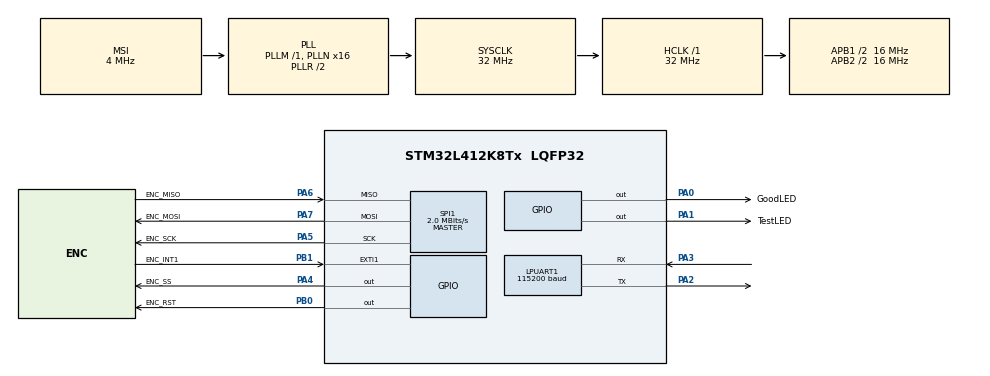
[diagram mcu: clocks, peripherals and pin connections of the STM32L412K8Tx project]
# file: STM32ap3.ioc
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LPUART1.BaudRate=115200
LPUART1.WordLength=UART_WORDLENGTH_8B
Mcu.Family=STM32L4
Mcu.Name=STM32L412K8Tx
Mcu.Package=LQFP32
NVIC.EXTI1_IRQn=true\:4\:0\:true\:false\:true\:true\:true
NVIC.LPUART1_IRQn=true\:13\:0\:true\:false\:true\:true\:true
NVIC.PriorityGroup=NVIC_PRIORITYGROUP_4
NVIC.TIM2_IRQn=true\:0\:0\:true\:false\:true\:true\:true
NVIC.TIM6_IRQn=true\:0\:0\:true\:false\:true\:true\:true
PA0-CK_IN.GPIO_Label=GoodLED
PA0-CK_IN.GPIO_Speed=GPIO_SPEED_FREQ_MEDIUM
PA0-CK_IN.Signal=GPIO_Output
PA1.GPIO_Label=TestLED
PA1.GPIO_Speed=GPIO_SPEED_FREQ_MEDIUM
PA1.Signal=GPIO_Output
PA13\ (JTMS/SWDIO).Mode=Serial_Wire
PA13\ (JTMS/SWDIO).Signal=SYS_JTMS-SWDIO
PA14\ (JTCK/SWCLK).Mode=Serial_Wire
PA14\ (JTCK/SWCLK).Signal=SYS_JTCK-SWCLK
PA2.Mode=Asynchronous
PA2.Signal=LPUART1_TX
PA3.Mode=Asynchronous
PA3.Signal=LPUART1_RX
PA4.GPIO_Label=ENC_SS
PA4.GPIO_Speed=GPIO_SPEED_FREQ_MEDIUM
PA4.Signal=GPIO_Output
PA5.GPIO_Label=ENC_SCK
PA5.Mode=Full_Duplex_Master
PA5.Signal=SPI1_SCK
PA6.GPIO_Label=ENC_MISO
PA6.Mode=Full_Duplex_Master
PA6.Signal=SPI1_MISO
PA7.GPIO_Label=ENC_MOSI
PA7.Mode=Full_Duplex_Master
PA7.Signal=SPI1_MOSI
PB0.GPIO_Label=ENC_RST
PB0.GPIO_PuPd=GPIO_PULLUP
PB0.GPIO_Speed=GPIO_SPEED_FREQ_MEDIUM
PB0.Signal=GPIO_Output
PB1.GPIO_Label=ENC_INT1
PB1.Signal=GPXTI1
ProjectManager.HeapSize=0x200
ProjectManager.StackSize=0x400
ProjectManager.TargetToolchain=Makefile
RCC.ADCFreq_Value=32000000
RCC.AHBFreq_Value=32000000
RCC.APB1CLKDivider=RCC_HCLK_DIV2
RCC.APB1Freq_Value=16000000
RCC.APB1TimFreq_Value=32000000
RCC.APB2CLKDivider=RCC_HCLK_DIV2
RCC.APB2Freq_Value=16000000
RCC.APB2TimFreq_Value=32000000
RCC.CortexFreq_Value=32000000
RCC.HCLKFreq_Value=32000000
RCC.HSE_VALUE=8000000
RCC.HSI48_VALUE=48000000
RCC.HSI_VALUE=16000000
RCC.LSE_VALUE=32768
RCC.MSI_VALUE=4000000
RCC.PLLN=16
RCC.SYSCLKFreq_VALUE=32000000
RCC.SYSCLKSource=RCC_SYSCLKSOURCE_PLLCLK
RCC.USBFreq_Value=4000000
RCC.VCOOutputFreq_Value=64000000
SPI1.BaudRatePrescaler=SPI_BAUDRATEPRESCALER_8
SPI1.CalculateBaudRate=2.0 MBits/s
SPI1.DataSize=SPI_DATASIZE_8BIT
SPI1.Direction=SPI_DIRECTION_2LINES
SPI1.Mode=SPI_MODE_MASTER
SPI1.NSSPMode=SPI_NSS_PULSE_DISABLE
SPI1.VirtualType=VM_MASTER
TIM2.ClockDivision=TIM_CLOCKDIVISION_DIV4
TIM2.Period=1000-1
TIM2.Prescaler=8000-1
TIM6.Period=100-1
TIM6.Prescaler=320-1
VP_TIM2_VS_ClockSourceINT.Mode=Internal
VP_TIM6_VS_ClockSourceINT.Mode=Enable_Timer
board=custom

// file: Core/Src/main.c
/* USER CODE BEGIN Header */
/**
  ******************************************************************************
  * @file           : main.c
  * @brief          : Main program body
  ******************************************************************************
  * @attention
  *
  * <h2><center>&copy; Copyright (c) 2021 STMicroelectronics.
  * All rights reserved.</center></h2>
  *
  * This software component is licensed by ST under BSD 3-Clause license,
  * the "License"; You may not use this file except in compliance with the
  * License. You may obtain a copy of the License at:
  *                        opensource.org/licenses/BSD-3-Clause
  *
  ******************************************************************************
  */
/* USER CODE END Header */
#include "main.h"

/* USER CODE BEGIN Includes */
#include "eth-main.h"
#include "eth-nic.h"
#include "eth-arp.h"
#include "eth-ip.h"
#include "eth-dhcp.h"
#include "eth-dns.h"
#include "eth-icmp.h"
#include "eth-tcp.h"
#include "eth-udp.h"
//#include "eth-http-client.h"
#include <stdlib.h>
#include "Addstr.h"
#include <string.h>
/* USER CODE END Includes */

UART_HandleTypeDef hlpuart1;

SPI_HandleTypeDef hspi1;

TIM_HandleTypeDef htim2;
TIM_HandleTypeDef htim6;

void SystemClock_Config(void);
static void MX_GPIO_Init(void);
static void MX_LPUART1_UART_Init(void);
static void MX_SPI1_Init(void);
static void MX_TIM2_Init(void);
static void MX_TIM6_Init(void);
/* USER CODE BEGIN PFP */
void EC_Init();
/* USER CODE END PFP */

/* USER CODE BEGIN 0 */

int mode = 0;
uint32_t iter_per_us = 0;
void up_udelay(uint32_t us)
{
    up_delayTick(us*iter_per_us);
}
void up_100ndelay(uint32_t us)
{
    up_delayTick(us*iter_per_us/10);
}
void up_delayTick(uint32_t tick)
{
    volatile uint32_t i;

    for (i=0; i<tick; i++) {
    }
}
static void calibrate(void)
{
    uint32_t time;
    volatile uint32_t i;

    iter_per_us = 1000000;

    time = HAL_GetTick();
    /* Wait for next tick */
    while (HAL_GetTick() == time) {
        /* wait */
    }
    for (i=0; i<iter_per_us; i++) {
    }
    iter_per_us /= ((HAL_GetTick()-time)*1000);
}

DWORD eth_dhcp_1sec_renewal_timer;
DWORD eth_dhcp_1sec_lease_timer;
WORD eth_dhcp_1ms_timer;
DWORD ethernet_10ms_clock_timer;
DWORD ethernet_10ms_clock_timer_working;
DWORD tcp_client_socket_timeout_timer;
BOOL isOnline = FALSE;

BYTE eth_dhcp_using_manual_settings;
BYTE *eth_dhcp_our_name_pointer;

int count10 = 0;

void HAL_TIM_PeriodElapsedCallback(TIM_HandleTypeDef *htim)
{
  if(htim->Instance == TIM6) //1kHz Timer
  {
		//printf("2(%d,%d)\n",eth_dhcp_1ms_timer,ethernet_10ms_clock_timer_working);
    //----- NIC DHCP TIMER -----
    if (eth_dhcp_1ms_timer)
      eth_dhcp_1ms_timer--;

    //-----------------------------
    //----- HERE EVERY 10 mSec -----
    //-----------------------------

    //----- ETHERNET GENERAL TIMER -----
    count10++;
    if(count10==10)
    {
		  //printf("6(%d)\n",ethernet_10ms_clock_timer_working);
      ethernet_10ms_clock_timer_working++;
      count10=0;
    }

  }
  if (htim->Instance == TIM2) // 1Hz Timer
  {
		//printf("2(%d,%d)\n",eth_dhcp_1sec_renewal_timer,eth_dhcp_1sec_lease_timer);
    //-------------------------------
    //----- HERE EVERY 1 Second -----
    //-------------------------------

    //----- NIC DHCP TIMERS -----
    if (eth_dhcp_1sec_renewal_timer)
      eth_dhcp_1sec_renewal_timer--;
    if (eth_dhcp_1sec_lease_timer)
      eth_dhcp_1sec_lease_timer--;
    if(tcp_client_socket_timeout_timer)
      tcp_client_socket_timeout_timer--;

    checkConnectivity(TRUE);

  }
}

int _write(int file, char* p, int len)
{
    HAL_UART_Transmit(&hlpuart1,(uint8_t*)p,len,1000);
    return len;
}
void yield()
{
  tcp_ip_process_stack();
  //HAL_Delay(1);
}
BYTE UDP_Open(IP_ADDR AddrToOpen,WORD port_local,WORD port_remote);
int UDP_Send(DEVICE_INFO *device_info);
int UDP_WaitReq(BYTE Socket,int timeout);
int UDP_SendData(BYTE Socket,uint8_t* data,int length);

BYTE TCP_Disconnect(BYTE Socket, int timeout);
BYTE TCP_Get_Data(BYTE Socket,uint8_t* data,int buflen);
BYTE TCP_Get_RemainingDataSize(BYTE Socket);
//ret 0:succeed 1:timeout 2:disconnected 3:retries expired
BYTE TCP_Get_Wait(BYTE Socket,int timeout);
BYTE TCP_SendByte(BYTE Socket, uint8_t* data, int len);
BYTE TCP_Connect(IP_ADDR ip,int port,int timeout);

BYTE AJUAttender_Page(char* page,Addstr_Str *request);
BYTE HTTPSendGET(IP_ADDR ip,int port,char* require,Addstr_Str *request);

IP_ADDR IPSet(uint8_t d1,uint8_t d2,uint8_t d3,uint8_t d4);
MAC_ADDR MACSet(uint8_t d1,uint8_t d2,uint8_t d3,uint8_t d4,uint8_t d5,uint8_t d6);

//if error, it returns 0.0.0.0
IP_ADDR DNS_Get(char* domain, int timeout);
void checkConnectivity(BOOL print);

BYTE SendARP(IP_ADDR ip);
//mode 0 : Waiting
//mode 10 : Request HTTP Client (Echo)
//mode 11 : waiting for HTTP Get Request
//mode 12 : Processing of HTTP Get Protocol
/* USER CODE END 0 */

int main(void)
{

  /* MCU Configuration--------------------------------------------------------*/

  /* Reset of all peripherals, Initializes the Flash interface and the Systick. */
  HAL_Init();

  /* Configure the system clock */
  SystemClock_Config();

  /* USER CODE BEGIN SysInit */
  calibrate();
  /* USER CODE END SysInit */

  /* Initialize all configured peripherals */
  MX_GPIO_Init();
  MX_LPUART1_UART_Init();
  MX_SPI1_Init();
  MX_TIM2_Init();
  MX_TIM6_Init();
  /* USER CODE BEGIN 2 */
  setvbuf(stdout,NULL,_IONBF,0);
  HAL_TIM_Base_Start_IT(&htim6);
  HAL_TIM_Base_Start_IT(&htim2);

  EC_Init();

  printf("start!!\n");

  printf("connecting line...\n");

  // uint32_t start = HAL_GetTick();
  // while((HAL_GetTick()-start < 1000) && !(nic_is_linked && nic_linked_and_ip_address_valid))
  //  tcp_ip_process_stack();

  // checkConnectivity(TRUE);

  // static BYTE our_tcp_client_socket = TCP_INVALID_SOCKET;
	// static WORD our_tcp_client_local_port;
	// static DEVICE_INFO remote_device_info;
	// static BYTE eth_http_client_10ms_clock_timer_last;
	// static DWORD http_client_content_length;
	// static DWORD http_client_content_received;
	// static BYTE header_started;
	// static BYTE header_ended;
	// static BYTE data_buffer[4];
	// static BYTE content_length_match_char;

  //TCP example test

  // enum {
  //   SM_OPEN_SOCKET = 0,
  //   SM_WAIT_FOR_CONNECTION,
  //   SM_TX_PACKET,
  //   SM_WAIT_FOR_RESPONSE,
  //   SM_REQUEST_DISCONNECT,
  //   SM_WAIT_FOR_DISCONNECT,
  //   SM_COMMS_COMPLETE,
  //   SM_COMMS_FAILED
  // };

  // static BYTE our_tcp_client_socket = TCP_INVALID_SOCKET;
  // static WORD our_tcp_client_local_port;
  // static BYTE our_tcp_client_state = SM_OPEN_SOCKET;
  // static DEVICE_INFO remote_device_info;

  /* USER CODE END 2 */

  /* Infinite loop */
  /* USER CODE BEGIN WHILE */
  while (1)
  {
    //HAL_Delay(1000);
    /*
    //MAC를 차단하는 것 같다.(Broadcast 많이 이용 시.)
    IP_ADDR iptoarp = IPSet(192,168,0,1);
    MAC_ADDR macfromArp = MACSet(0,0,0,0,0,0);
    printf("arp sending.. %d.%d.%d.%d\n",iptoarp.v[0],iptoarp.v[1],iptoarp.v[2],iptoarp.v[3]);
    if(arp_resolve_ip_address(&iptoarp))
    {
      uint32_t start = HAL_GetTick();
      while(HAL_GetTick()-start < 3000)
      {
        tcp_ip_process_stack();
        if(arp_is_resolve_complete(&iptoarp,&macfromArp))break;
      }
      printf("received : %02X:%02X:%02X:%02X:%02X:%02X\n"
        ,macfromArp.v[0],macfromArp.v[1],macfromArp.v[2],macfromArp.v[3],macfromArp.v[4],macfromArp.v[5]);
    }
    */

    //HAL_Delay(500);

    if(mode == 0)
    {
      //mode = 10;

      //mode = 88;//start tcp
      //mode = 89;//start udp
      //mode = 90;//start dns
      //mode = 91;//start httpGET
      //mode = 92;

      // IP_ADDR site_addr;
      // printf("DNS Testing\n");
      // site_addr = DNS_Get("eduwon.net",4000);
      // printf("eduwon.net -> %d.%d.%d.%d\n",site_addr.v[0],site_addr.v[1],site_addr.v[2],site_addr.v[3]);
      // site_addr = DNS_Get("eduwon.nea",4000);
      // printf("eduwon.nea -> %d.%d.%d.%d\n\n",site_addr.v[0],site_addr.v[1],site_addr.v[2],site_addr.v[3]);
    }
    /*
    else if(mode == 88)
    {
      mode = 1;
      static BYTE our_tcp_socket = UDP_INVALID_SOCKET;
      IP_ADDR addr = IPSet(192,168,0,20);
      printf("\n\nTCP Start!!");
      our_tcp_socket = TCP_Connect(addr,505,10000);
      if (our_tcp_socket == UDP_INVALID_SOCKET)
      {
        printf("TCP Connection failed!\n");
        continue;
      }
      printf("TCP Connection succeed!\n");

      if (!TCP_SendByte(our_tcp_socket,"Hi!\n",4))
      {
        //Can't tx right now - try again next Time
        TCP_Disconnect(our_tcp_socket,1000);
        printf("TCP setup tx Socket failed!\n");
        continue;
      }
      printf("TCP Sending succeed!\n");

      int res;
      if(res = TCP_Get_Wait(our_tcp_socket,30000) == 0)//if data avaliable
      {
        int len = TCP_Get_RemainingDataSize(our_tcp_socket);
        uint8_t* data = malloc(len+1);
        data[len] = 0;
        TCP_Get_Data(our_tcp_socket,data,len);
        printf("TCP Receiving Succeed! len:%d, %s\n",len,data);
      }else{
        printf("TCP Error %d\n",res);
        TCP_Disconnect(our_tcp_socket,1000);

        continue;
      }
      printf("TCP Receiving succeed!\n");

      if(TCP_Disconnect(our_tcp_socket,5000))
      {
        printf("TCP Disconnecting Succeed!\n");
      }else{
        printf("TCP Disconnecting timeout.\n");
        continue;
      }

      printf("TCP Succeed!\n");
    }
    else if(mode == 89)
    {

      static BYTE our_udp_socket = UDP_INVALID_SOCKET;
      IP_ADDR addr;
      addr.v[0] = 192;
      addr.v[1] = 168;
      addr.v[2] = 0;
      addr.v[3] = 20;
      our_udp_socket = UDP_Open(addr,6450,6450);
      if (our_udp_socket == UDP_INVALID_SOCKET)
      {
        printf("UDP Invaild Socket!\n");
        continue;
      }

      if (!UDP_SendData(our_udp_socket,"Hi!",4))
      {
        //Can't tx right now - try again next Time
        printf("UDP setup tx Socket failed!\n");
        continue;
      }

      printf("UDP Request: %d\n",UDP_WaitReq(our_udp_socket,2000));

      printf("UDP Sending Succeed!\n");
      udp_close_socket(&our_udp_socket);
      continue;
    }
    else if(mode == 90)
    {
      IP_ADDR site_addr;
      char* siteDomain = "www.eduwon.sm";

      if(!do_dns_query(siteDomain,QNS_QUERY_TYPE_HOST))
      {
        extern BYTE dns_state;
        printf("dns failed. %d\n",dns_state);
        continue;
      }

      printf("DNS looking up start!\n");
      uint32_t start = HAL_GetTick();
      while(HAL_GetTick()-start < 4000)
      {
        yield();
        site_addr = check_dns_response();
        if(site_addr.Val == 0x00000000);//waiting
        else if(site_addr.Val == 0xFFFFFFFF)
        {
          printf("dns failed 1.\n");
          break;
        }
        else
        {
          printf("DNS Succeed!\n");
          printf("Resloved : %d.%d.%d.%d\n",site_addr.v[0],site_addr.v[1],site_addr.v[2],site_addr.v[3]);
          break;
        }
      }

      if(site_addr.Val == 0xFFFFFFFF)
      continue;

      // IP_ADDR iptoarp = site_addr;
      // MAC_ADDR macfromArp = MACSet(0,0,0,0,0,0);
      // printf("arp sending.. %d.%d.%d.%d\n",iptoarp.v[0],iptoarp.v[1],iptoarp.v[2],iptoarp.v[3]);
      // if(arp_resolve_ip_address(&iptoarp))
      // {
      //   uint32_t start = HAL_GetTick();
      //   while(HAL_GetTick()-start < 3000)
      //   {
      //     yield();
      //     if(arp_is_resolve_complete(&iptoarp,&macfromArp))break;
      //   }
      //   printf("received : %02X:%02X:%02X:%02X:%02X:%02X\n"
      //     ,macfromArp.v[0],macfromArp.v[1],macfromArp.v[2],macfromArp.v[3],macfromArp.v[4],macfromArp.v[5]);
      // }

    }
    else if(mode == 91)
    {
      mode = 1;
      //prepare for HTTP Get Sending
      char* host = "www.eduwon.net";
      int port = 8807;
      char* page = "/api/att/echo_4514";
      IP_ADDR host_addr;
      BYTE socket;

      int res;
      //TCP example test
      printf("TCP: SOCKET Open\n");
      host_addr = DNS_Get(host,2000);
      socket = TCP_Connect(host_addr,port,10000);
      if(socket == TCP_INVALID_SOCKET)
        continue;

      //----- TX PACKET TO REMOTE DEVICE -----
      if (!tcp_setup_socket_tx(socket))
      {
        printf("TCP: we can't send TX packet.\n");
        //Can't tx right now - try again next time
        continue;
      }
      //WRITE THE TCP DATA
      tcp_write_array("GET ",4);
      tcp_write_array(page,strlen(page));
      tcp_write_array(" HTTP/1.1\r\n",11);

      tcp_write_array("Host ",5);
      tcp_write_array(host,strlen(host));
      tcp_write_array("\r\n",2);

      tcp_write_array("Connection : close\r\n",20);
      tcp_write_array("\r\n",2);
      //You can also use tcp_write_array()

      //SEND THE PACKET
      tcp_socket_tx_packet(socket);

      res = TCP_Get_Wait(socket,10000);
      //----- WAIT FOR RESPONSE -----

      if (res==1)//tcp_client_socket_timeout_timer == 0)
      {
        printf("TCP: TX Timeout.\n");
        //WAIT FOR RESPOSNE TIMEOUT
        tcp_close_socket(socket);
        continue;
      }

      if (res==0)//tcp_check_socket_for_rx(socket))
      {
        printf("TCP: data :");
        //SOCKET HAS RECEIVED A PACKET - PROCESS IT

        BYTE data;
        printf("len:%d\n",TCP_Get_RemainingDataSize(socket));
        while(tcp_read_next_rx_byte(&data) == 1)
        {
          //yield();
          printf("%c",data);
        }
        printf("\nTCP: data ended!\n");
        // //READ THE PACKET AS REQURIED
        // if (tcp_read_next_rx_byte(&data) == 0)
        // {
        //   //Error - no more bytes in rx packet
        //   printf("\nTCP: data ended!\n");
        // }

        //DUMP THE PACKET
        tcp_dump_rx_packet();
        //go on.
      }

      if (res==3)//tcp_does_socket_require_resend_of_last_packet(socket))
      {
        printf("TCP: re-sending Packet.\n");
        //RE-SEND LAST PACKET TRANSMITTED
        //(TCP requires resending of packets if they are not acknowledged and to
        //avoid requiring a large RAM buffer the application needs to remember
        //the last packet sent on a socket so it can be resent if requried).
        continue;
      }

      if(res==2)//!tcp_is_socket_connected(socket))
      {
        printf("TCP: Host Disconnected.\n");
        //THE CLIENT HAS DISCONNECTED
        continue;
      }

      if(!TCP_Disconnect(socket,10000))
      {
        printf("TCP: DisConnect failed.");
        break;
      }
      printf("TCP: Communication Succeed!.\n");

    }
    else if(mode == 92)
    {
      mode = 1;
      Addstr_Str Request;

      int req = AJUAttender_Page("/api/att/echo_8754",&Request);
      if(!req)
      {
        printf("echo failed.\n");
        continue;
      }

      printf("Request len : %d\r\n",Request.size);
      printf("%s\r\n",Request.str);

      Addstr_destroy(&Request);

    }
    */

    /*else if(mode == 10)
    {
      printf("Connect to www.eduwon.net 123\n");

      char domain[26] = "www.eduwon.net";
      if(!do_dns_query(domain, QNS_QUERY_TYPE_HOST))
      {
        printf("DNS Failed.\n");
        mode = 1;
      }
      mode = 11;
      // if(start_http_client_request("www.eduwon.net","123"))
      // {
      //   mode == 11;
      // }else
      // {
      //   printf("Request Failed!\n");
      //   HAL_Delay(500);
      // }
    }else if(mode == 11)
    {
      remote_device_info.ip_address = check_dns_response();
      if (remote_device_info.ip_address.Val == 0xffffffff)
      {
        //DNS QUERY FAILED
        printf("Request Failed!\n");
        HAL_Delay(500);
        mode = 10;
      }
      else if (remote_device_info.ip_address.Val)
      {
        printf("DNS Succeed!\n");
        mode = 12;
        //DNS QUERY SUCESSFUL
      }
      else
      {
        //DNS NOT YET COMPLETE
      }
    }else if(mode == 12)
    {
      printf("Connect to %08X..\n",remote_device_info.ip_address.Val);
      remote_device_info.mac_address.v[0] = 0;		//Set to zero so TCP will automatically use ARP to find the MAC address
      remote_device_info.mac_address.v[1] = 0;
      remote_device_info.mac_address.v[2] = 0;
      remote_device_info.mac_address.v[3] = 0;
      remote_device_info.mac_address.v[4] = 0;
      remote_device_info.mac_address.v[5] = 0;

      //Connect to remote device port 80
      if (our_tcp_client_socket != TCP_INVALID_SOCKET)		//We shouldn't have a socket currently, but make sure
          tcp_close_socket(our_tcp_client_socket);

      our_tcp_client_socket = tcp_connect_socket(&remote_device_info, 80);
      if (our_tcp_client_socket != TCP_INVALID_SOCKET)
      {
        our_tcp_client_local_port = tcp_socket[our_tcp_client_socket].local_port;
        mode = 13;
      }
      //Could not open a socket - none currently available - keep trying
    }else if(mode == 13)
    {
      //TCP Waiting
      if (tcp_is_socket_connected(our_tcp_client_socket))
        mode = 14;

    }else if(mode == 14)
    {
      tcp_close_socket(our_tcp_client_socket);

      printf("Connect Succeed!\n");
      HAL_Delay(500);
    }
    */

    /* USER CODE END WHILE */

    /* USER CODE BEGIN 3 */
    //----- PROCESS ETHERNET STACK -----
    tcp_ip_process_stack();
  }
  /* USER CODE END 3 */
}

void SystemClock_Config(void)
{
  RCC_OscInitTypeDef RCC_OscInitStruct = {0};
  RCC_ClkInitTypeDef RCC_ClkInitStruct = {0};
  RCC_PeriphCLKInitTypeDef PeriphClkInit = {0};

  /** Configure the main internal regulator output voltage
  */
  if (HAL_PWREx_ControlVoltageScaling(PWR_REGULATOR_VOLTAGE_SCALE1) != HAL_OK)
  {
    Error_Handler();
  }
  /** Initializes the RCC Oscillators according to the specified parameters
  * in the RCC_OscInitTypeDef structure.
  */
  RCC_OscInitStruct.OscillatorType = RCC_OSCILLATORTYPE_MSI;
  RCC_OscInitStruct.MSIState = RCC_MSI_ON;
  RCC_OscInitStruct.MSICalibrationValue = 0;
  RCC_OscInitStruct.MSIClockRange = RCC_MSIRANGE_6;
  RCC_OscInitStruct.PLL.PLLState = RCC_PLL_ON;
  RCC_OscInitStruct.PLL.PLLSource = RCC_PLLSOURCE_MSI;
  RCC_OscInitStruct.PLL.PLLM = 1;
  RCC_OscInitStruct.PLL.PLLN = 16;
  RCC_OscInitStruct.PLL.PLLQ = RCC_PLLQ_DIV2;
  RCC_OscInitStruct.PLL.PLLR = RCC_PLLR_DIV2;
  if (HAL_RCC_OscConfig(&RCC_OscInitStruct) != HAL_OK)
  {
    Error_Handler();
  }
  /** Initializes the CPU, AHB and APB buses clocks
  */
  RCC_ClkInitStruct.ClockType = RCC_CLOCKTYPE_HCLK|RCC_CLOCKTYPE_SYSCLK
                              |RCC_CLOCKTYPE_PCLK1|RCC_CLOCKTYPE_PCLK2;
  RCC_ClkInitStruct.SYSCLKSource = RCC_SYSCLKSOURCE_PLLCLK;
  RCC_ClkInitStruct.AHBCLKDivider = RCC_SYSCLK_DIV1;
  RCC_ClkInitStruct.APB1CLKDivider = RCC_HCLK_DIV2;
  RCC_ClkInitStruct.APB2CLKDivider = RCC_HCLK_DIV2;

  if (HAL_RCC_ClockConfig(&RCC_ClkInitStruct, FLASH_LATENCY_1) != HAL_OK)
  {
    Error_Handler();
  }
  PeriphClkInit.PeriphClockSelection = RCC_PERIPHCLK_LPUART1;
  PeriphClkInit.Lpuart1ClockSelection = RCC_LPUART1CLKSOURCE_PCLK1;
  if (HAL_RCCEx_PeriphCLKConfig(&PeriphClkInit) != HAL_OK)
  {
    Error_Handler();
  }
}

static void MX_LPUART1_UART_Init(void)
{

  hlpuart1.Instance = LPUART1;
  hlpuart1.Init.BaudRate = 115200;
  hlpuart1.Init.WordLength = UART_WORDLENGTH_8B;
  hlpuart1.Init.StopBits = UART_STOPBITS_1;
  hlpuart1.Init.Parity = UART_PARITY_NONE;
  hlpuart1.Init.Mode = UART_MODE_TX_RX;
  hlpuart1.Init.HwFlowCtl = UART_HWCONTROL_NONE;
  hlpuart1.Init.OneBitSampling = UART_ONE_BIT_SAMPLE_DISABLE;
  hlpuart1.AdvancedInit.AdvFeatureInit = UART_ADVFEATURE_NO_INIT;
  if (HAL_UART_Init(&hlpuart1) != HAL_OK)
  {
    Error_Handler();
  }

}

static void MX_SPI1_Init(void)
{

  /* SPI1 parameter configuration*/
  hspi1.Instance = SPI1;
  hspi1.Init.Mode = SPI_MODE_MASTER;
  hspi1.Init.Direction = SPI_DIRECTION_2LINES;
  hspi1.Init.DataSize = SPI_DATASIZE_8BIT;
  hspi1.Init.CLKPolarity = SPI_POLARITY_LOW;
  hspi1.Init.CLKPhase = SPI_PHASE_1EDGE;
  hspi1.Init.NSS = SPI_NSS_SOFT;
  hspi1.Init.BaudRatePrescaler = SPI_BAUDRATEPRESCALER_8;
  hspi1.Init.FirstBit = SPI_FIRSTBIT_MSB;
  hspi1.Init.TIMode = SPI_TIMODE_DISABLE;
  hspi1.Init.CRCCalculation = SPI_CRCCALCULATION_DISABLE;
  hspi1.Init.CRCPolynomial = 7;
  hspi1.Init.CRCLength = SPI_CRC_LENGTH_DATASIZE;
  hspi1.Init.NSSPMode = SPI_NSS_PULSE_DISABLE;
  if (HAL_SPI_Init(&hspi1) != HAL_OK)
  {
    Error_Handler();
  }

}

static void MX_TIM2_Init(void)
{

  TIM_ClockConfigTypeDef sClockSourceConfig = {0};
  TIM_MasterConfigTypeDef sMasterConfig = {0};

  htim2.Instance = TIM2;
  htim2.Init.Prescaler = 8000-1;
  htim2.Init.CounterMode = TIM_COUNTERMODE_UP;
  htim2.Init.Period = 1000-1;
  htim2.Init.ClockDivision = TIM_CLOCKDIVISION_DIV4;
  htim2.Init.AutoReloadPreload = TIM_AUTORELOAD_PRELOAD_DISABLE;
  if (HAL_TIM_Base_Init(&htim2) != HAL_OK)
  {
    Error_Handler();
  }
  sClockSourceConfig.ClockSource = TIM_CLOCKSOURCE_INTERNAL;
  if (HAL_TIM_ConfigClockSource(&htim2, &sClockSourceConfig) != HAL_OK)
  {
    Error_Handler();
  }
  sMasterConfig.MasterOutputTrigger = TIM_TRGO_RESET;
  sMasterConfig.MasterSlaveMode = TIM_MASTERSLAVEMODE_DISABLE;
  if (HAL_TIMEx_MasterConfigSynchronization(&htim2, &sMasterConfig) != HAL_OK)
  {
    Error_Handler();
  }

}

static void MX_TIM6_Init(void)
{

  TIM_MasterConfigTypeDef sMasterConfig = {0};

  htim6.Instance = TIM6;
  htim6.Init.Prescaler = 320-1;
  htim6.Init.CounterMode = TIM_COUNTERMODE_UP;
  htim6.Init.Period = 100-1;
  htim6.Init.AutoReloadPreload = TIM_AUTORELOAD_PRELOAD_DISABLE;
  if (HAL_TIM_Base_Init(&htim6) != HAL_OK)
  {
    Error_Handler();
  }
  sMasterConfig.MasterOutputTrigger = TIM_TRGO_RESET;
  sMasterConfig.MasterSlaveMode = TIM_MASTERSLAVEMODE_DISABLE;
  if (HAL_TIMEx_MasterConfigSynchronization(&htim6, &sMasterConfig) != HAL_OK)
  {
    Error_Handler();
  }
  /* USER CODE BEGIN TIM6_Init 2 */
  //출처: https://rodneyhuh.tistory.com/22 [Rodney's Blog]
  /* USER CODE END TIM6_Init 2 */

}

static void MX_GPIO_Init(void)
{
  GPIO_InitTypeDef GPIO_InitStruct = {0};

  /* GPIO Ports Clock Enable */
  __HAL_RCC_GPIOA_CLK_ENABLE();
  __HAL_RCC_GPIOB_CLK_ENABLE();

  /*Configure GPIO pin Output Level */
  HAL_GPIO_WritePin(GPIOA, GoodLED_Pin|TestLED_Pin|ENC_SS_Pin, GPIO_PIN_RESET);

  /*Configure GPIO pin Output Level */
  HAL_GPIO_WritePin(ENC_RST_GPIO_Port, ENC_RST_Pin, GPIO_PIN_RESET);

  /*Configure GPIO pins : GoodLED_Pin TestLED_Pin ENC_SS_Pin */
  GPIO_InitStruct.Pin = GoodLED_Pin|TestLED_Pin|ENC_SS_Pin;
  GPIO_InitStruct.Mode = GPIO_MODE_OUTPUT_PP;
  GPIO_InitStruct.Pull = GPIO_NOPULL;
  GPIO_InitStruct.Speed = GPIO_SPEED_FREQ_MEDIUM;
  HAL_GPIO_Init(GPIOA, &GPIO_InitStruct);

  /*Configure GPIO pin : ENC_RST_Pin */
  GPIO_InitStruct.Pin = ENC_RST_Pin;
  GPIO_InitStruct.Mode = GPIO_MODE_OUTPUT_PP;
  GPIO_InitStruct.Pull = GPIO_PULLUP;
  GPIO_InitStruct.Speed = GPIO_SPEED_FREQ_MEDIUM;
  HAL_GPIO_Init(ENC_RST_GPIO_Port, &GPIO_InitStruct);

  /*Configure GPIO pin : ENC_INT1_Pin */
  GPIO_InitStruct.Pin = ENC_INT1_Pin;
  GPIO_InitStruct.Mode = GPIO_MODE_IT_RISING;
  GPIO_InitStruct.Pull = GPIO_NOPULL;
  HAL_GPIO_Init(ENC_INT1_GPIO_Port, &GPIO_InitStruct);

  /* EXTI interrupt init*/
  HAL_NVIC_SetPriority(EXTI1_IRQn, 4, 0);
  HAL_NVIC_EnableIRQ(EXTI1_IRQn);

}

/* USER CODE BEGIN 4 */
/*
BYTE UDP_Open(IP_ADDR AddrToOpen,WORD port_local,WORD port_remote)
{
  DEVICE_INFO remote_device_info;
  BYTE our_udp_socket = UDP_INVALID_SOCKET;
  if (!nic_linked_and_ip_address_valid)
  {
    return UDP_INVALID_SOCKET; //Exit as we can't do anything without a connection
  }
  //Set to broadcast on our subnet (alternatively set the IP and MAC address
  //to a remote devices address - use ARP first if the MAC address is unknown)
  remote_device_info.ip_address = AddrToOpen;
  // remote_device_info.mac_address.v[0] = 0xff;
  // remote_device_info.mac_address.v[1] = 0xff;
  // remote_device_info.mac_address.v[2] = 0xff;
  // remote_device_info.mac_address.v[3] = 0xff;
  // remote_device_info.mac_address.v[4] = 0xff;
  // remote_device_info.mac_address.v[5] = 0xff;
  //Set the port numbers as desired
  return udp_open_socket(&remote_device_info, port_local,port_remote);
}
int UDP_SendData(BYTE Socket,uint8_t* data,int length)
{
  //----- TX PACKET TO REMOTE DEVICE -----
  //SETUP TX
  if (!udp_setup_tx(Socket))
  {
    return 0;
  }
  //WRITE THE TCP DATA
  udp_write_array(data,length);
  //You can also use udp_write_array()
  //SEND THE PACKET
  udp_tx_packet();
  return 1;
}
int UDP_WaitReq(BYTE Socket,int timeout)
{
  uint8_t data;
  int len = 0;
  uint32_t start = HAL_GetTick();
  while(HAL_GetTick()-start < timeout)
  {
    HAL_Delay(10);

    if (udp_check_socket_for_rx(Socket))
    {
      //SOCKET HAS RECEIVED A PACKET - PROCESS IT
      //READ THE PACKET AS REQURIED
      if (!udp_read_next_rx_byte(&data))
      {
        udp_close_socket(&Socket);
        //Error - no more bytes in rx packet
        printf("Error - no more bytes in rx packet\n");
        return 0;
      }

      //DUMP THE PACKET
      udp_dump_rx_packet();
      break;
    }
    yield();
  }
  return udp_socket[Socket].rx_data_bytes_remaining;
}

BYTE TCP_Connect(IP_ADDR ip,int port,int timeout)
{
  BYTE Socket;
  if (!nic_linked_and_ip_address_valid)
    return TCP_INVALID_SOCKET;

  DEVICE_INFO remote_device_info;
  remote_device_info.ip_address = ip;
  remote_device_info.mac_address = MACSet(0,0,0,0,0,0);
  //Set to zero so TCP will automatically use ARP to find MAC address

  //SM_OPEN_SOCKET
  Socket = tcp_connect_socket(&remote_device_info,port);

  if(Socket == TCP_INVALID_SOCKET)
  {
    printf("TCP Could not open the socket.\n");
    //Could not open the socket.
    return TCP_INVALID_SOCKET;
  }
  port = tcp_socket[Socket].local_port;

  printf("TCP: Trying to connect to 192.168.0.20...\n");
  tcp_client_socket_timeout_timer = timeout/10000;
  //Set our wait for connection timeout
  //uint32_t start = HAL_GetTick();
  int ret = 0;
  while(1)//HAL_GetTick() - start < timeout)
  {
    yield();
    //----- WAIT FOR SOCKET TO CONNECT -----
    if (tcp_is_socket_connected(Socket))
    {
      ret = Socket;//Opened the socket.
      printf("TCP: Connected!\n");
      break;
    }
    if(tcp_client_socket_timeout_timer==0)
    {
      ret = TCP_INVALID_SOCKET;//Timeout.
      printf("TCP: Connecting timeout.\n");
      break;
    }
  }
  //printf("TCP Connection time : %dms\n",HAL_GetTick() - start);
  printf("TCP Connection  remain_sec:%d\n",tcp_client_socket_timeout_timer);

  return ret;
}
BYTE TCP_SendByte(BYTE Socket, uint8_t* data, int len)
{
  if (!tcp_setup_socket_tx(Socket))
  {
    printf("TCP Cannot setup TX socket.\n");
    return 0;//Cannot setup TX socket.
  }

  if(tcp_write_array(data,len) == 0)
    return 0;//byte could not be written.(MAX_PACKET_SIZE reached.)

  tcp_socket_tx_packet(Socket);
  return len;
}
BYTE TCP_Get_Wait(BYTE Socket,int timeout)
{
  tcp_client_socket_timeout_timer = timeout/1000;			//Set our wait for response timeout
  while(1)
  {
    yield();
    if (tcp_check_socket_for_rx(Socket))
    {
      return 0;//INTERRUPT!
    }

    if (tcp_client_socket_timeout_timer == 0)
    {
      //WAIT FOR RESPOSNE TIMEOUT
      tcp_close_socket(Socket);
      return 1;//TIMEOUT
    }
    if (tcp_does_socket_require_resend_of_last_packet(Socket))
    {
      //RE-SEND LAST PACKET TRANSMITTED
      //(TCP requires resending of packets if they are not acknowledged and to
      //avoid requiring a large RAM buffer the application needs to remember
      //the last packet sent on a socket so it can be resent if requried).
      //return to SEND Section.
      return 3;//RETRIES_EXPIRED
    }
    if(!tcp_is_socket_connected(Socket))
    {
      return 2;//THE CLIENT HAS DISCONNECTED
    }
  }
  return 1;//TIMEOUT

}
BYTE TCP_Get_RemainingDataSize(BYTE Socket)
{
  return tcp_socket[Socket].rx_data_bytes_remaining;
}
BYTE TCP_Get_Data(BYTE Socket,uint8_t* data,int buflen)
{
  if (tcp_check_socket_for_rx(Socket))
    return tcp_read_rx_array(data,buflen);
  else
    return 0;
}
BYTE TCP_Disconnect(BYTE Socket, int timeout)
{
  tcp_request_disconnect_socket (Socket);

  uint32_t start = HAL_GetTick();
  while(HAL_GetTick() - start < timeout)
  {
    yield();
    if (tcp_is_socket_closed(Socket))
      break;//Successfully closed.
  }

  if(!(HAL_GetTick() - start < timeout))
  {
    tcp_close_socket(Socket);
    return 0;//TIMEOUT
  }
  else return 1;//Successfully closed.
}
char* AJUATTENDER_API_DOMAIN = "www.eduwon.net";
int   AJUATTENDER_API_PORT   = 8807;
BYTE AJUAttender_Page(char* page,Addstr_Str *request)
{
  Addstr_Str Req;
  Addstr_init(&Req);
  Addstr_add(&Req,"GET ");
  Addstr_add(&Req,page);
  Addstr_add(&Req,"\r\n");

  Addstr_add(&Req,"Host :");
  Addstr_add(&Req,AJUATTENDER_API_DOMAIN);
  Addstr_add(&Req,"\r\n");

  Addstr_add(&Req,"Connection: close\r\n");
  Addstr_add(&Req,"\r\n");
  char* require = Addstr_return(&Req);
  IP_ADDR HostIP = DNS_Get(AJUATTENDER_API_DOMAIN,5000);

  int ret = HTTPSendGET(HostIP,AJUATTENDER_API_PORT,Addstr_return(&Req),request);

  Addstr_destroy(&Req);
  return ret;
}

BYTE HTTPSendGET(IP_ADDR ip,int port,char* require,Addstr_Str *request)
{
  BYTE socket;
  socket = TCP_Connect(ip,port,10000);
  if(socket == TCP_INVALID_SOCKET)
    return 0;

  if (!tcp_setup_socket_tx(socket))
    return 0;//Can't tx right now - try again next time

  //SEND THE PACKET
  tcp_write_array(require,strlen(require));
  tcp_socket_tx_packet(socket);

  //Waiting for response
  int res = TCP_Get_Wait(socket,10000);

  if (res==1)//tcp_client_socket_timeout_timer == 0)
  {
    printf("TCP: TX Timeout.\n");
    //WAIT FOR RESPOSNE TIMEOUT
    tcp_close_socket(socket);
    return 0;
  }

  if (res==0)//tcp_check_socket_for_rx(socket))
  {
    printf("TCP: data :");
    //SOCKET HAS RECEIVED A PACKET - PROCESS IT
    Addstr_init(request);

    BYTE data;
    printf("len:%d\n",TCP_Get_RemainingDataSize(socket));
    while(tcp_read_next_rx_byte(&data) == 1)
    {
      //yield();
      //printf("%c",data);
      Addstr_addlen(request,data,1);
    }
    printf("\nTCP: data ended!\n");
    printf("TCP: len: %d\n",request->size);
    printf("%s\n",request->str);

    //DUMP THE PACKET
    tcp_dump_rx_packet();
    //go on.
  }

  if (res==3)//tcp_does_socket_require_resend_of_last_packet(socket))
  {
    printf("TCP: re-sending Packet.\n");
    //RE-SEND LAST PACKET TRANSMITTED
    //(TCP requires resending of packets if they are not acknowledged and to
    //avoid requiring a large RAM buffer the application needs to remember
    //the last packet sent on a socket so it can be resent if requried).
    return 0;
  }

  if(res==2)//!tcp_is_socket_connected(socket))
  {
    printf("TCP: Host Disconnected.\n");
    //THE CLIENT HAS DISCONNECTED
    return 0;
  }

  if(!TCP_Disconnect(socket,10000))
    return 0;//TCP: DisConnect failed.

  else return 1;//END.
}

IP_ADDR DNS_Get(char* domain, int timeout)
{
  IP_ADDR ReturnErrorIP = IPSet(0,0,0,0);
  IP_ADDR WaitingIP = IPSet(0,0,0,0);
  IP_ADDR ErrorIP = IPSet(255,255,255,255);
  IP_ADDR domain_addr;

  if(!do_dns_query(domain,QNS_QUERY_TYPE_HOST))
  {
    return ReturnErrorIP;
  }

  //printf("DNS looking up start!\n");
  uint32_t start = HAL_GetTick();
  while(HAL_GetTick()-start < timeout)
  {
    yield();
    domain_addr = check_dns_response();
        if(memcmp(&domain_addr,&WaitingIP,IP_ADDR_LENGTH) == 0);//waiting
    else if(memcmp(&domain_addr,&ErrorIP,IP_ADDR_LENGTH) == 0)
    {
      //printf("dns failed 1.\n");
      return ReturnErrorIP;
    }
    else
    {
      //printf("DNS Succeed!\n");
      //printf("Resloved : %d.%d.%d.%d\n",site_addr.v[0],site_addr.v[1],site_addr.v[2],site_addr.v[3]);
      return domain_addr;
    }
  }
  return ReturnErrorIP;//timeout
}

BYTE SendARP(IP_ADDR ip)
{
  return arp_resolve_ip_address(&ip);
}
IP_ADDR IPSet(uint8_t d1,uint8_t d2,uint8_t d3,uint8_t d4)
{
  IP_ADDR ip;
  ip.v[0] = d1; ip.v[1] = d2;
  ip.v[2] = d3; ip.v[3] = d4;
  return ip;
}
MAC_ADDR MACSet(uint8_t d1,uint8_t d2,uint8_t d3,uint8_t d4,uint8_t d5,uint8_t d6)
{
  MAC_ADDR mac;
  mac.v[0] = d1; mac.v[1] = d2; mac.v[2] = d3;
  mac.v[3] = d4; mac.v[4] = d5; mac.v[5] = d6;
  return mac;
}
*/

void LED_SetOnlineStatus(BOOL isOnline)
{
  HAL_GPIO_WritePin(GPIOA,GoodLED_Pin,isOnline);
  HAL_GPIO_WritePin(GPIOA,TestLED_Pin,!isOnline);
}
void checkConnectivity(BOOL print)
{
  static int connected;
  if(nic_is_linked && nic_linked_and_ip_address_valid) {
    if(!connected && print)
    {
      printf("IP  : %d.%d.%d.%d\n",our_ip_address.v[0]         ,our_ip_address.v[1]         ,our_ip_address.v[2]         ,our_ip_address.v[3]         );
      printf("GW  : %d.%d.%d.%d\n",our_gateway_ip_address.v[0] ,our_gateway_ip_address.v[1] ,our_gateway_ip_address.v[2] ,our_gateway_ip_address.v[3] );
      printf("Msk : %d.%d.%d.%d\n",our_subnet_mask.v[0]        ,our_subnet_mask.v[1]        ,our_subnet_mask.v[2]        ,our_subnet_mask.v[3]        );
      printf("MAC : %02X:%02X:%02X:%02X:%02X:%02X\n"
        ,our_mac_address.v[0],our_mac_address.v[1],our_mac_address.v[2],our_mac_address.v[3],our_mac_address.v[4],our_mac_address.v[5]);

      IP_ADDR host_addr;
      // if(print)printf("trying to get IP of www.google.com\n");
      // if((host_addr = DNS_Get("www.google.com",5000)).Val == 0)//if rtn is 0.0.0.0
      // {
      //   if(print)printf("Internet not working..");
      //   isOnline = 0;
      //   LED_SetOnlineStatus(FALSE);
      // }
      // else
      {
        isOnline = 1;
        LED_SetOnlineStatus(TRUE);
        if(print)printf("This device is ONLINE!\n");

        mode = 0;
      }
    }
    connected = 1;
  }
  else {
    if(connected && print)
    {
      if(nic_is_linked && !nic_linked_and_ip_address_valid)
        printf("IP Address is not valid. Please reset the program.\n");
      else if(!nic_is_linked)
        printf("NIC is not linked. Please reset the program.\n");
    }
    connected = 0;
    LED_SetOnlineStatus(FALSE);
  }
}

#define USE_DHCP 1
void EC_Init()
{
  #if !USE_DHCP
  //----- CONFIGURE ETHERNET -----
  eth_dhcp_using_manual_settings = 1;
  our_ip_address.v[0] = 192; //MSB
  our_ip_address.v[1] = 168;
  our_ip_address.v[2] = 0;
  our_ip_address.v[3] = 28; //LSB
  our_subnet_mask.v[0] = 255; //MSB
  our_subnet_mask.v[1] = 255;
  our_subnet_mask.v[2] = 255;
  our_subnet_mask.v[3] = 0; //LSB
  our_gateway_ip_address.v[0] = 192;
  our_gateway_ip_address.v[1] = 168;
  our_gateway_ip_address.v[2] = 0;
  our_gateway_ip_address.v[3] = 1;
  #else
  eth_dhcp_using_manual_settings = 0;
  eth_dhcp_our_name_pointer = "AJUAttender";
  #endif

  //----- SET OUR ETHENET UNIQUE MAC ADDRESS -----
  our_mac_address.v[0] = 0x14; //MSB
  our_mac_address.v[1] = 0x07;
  our_mac_address.v[2] = 0x37;
  our_mac_address.v[3] = 0x88;
  our_mac_address.v[4] = 0x62;
  our_mac_address.v[5] = 0x98; //LSB
  //----- INITIALISE ETHERNET -----
  tcp_ip_initialise();
}
/* USER CODE END 4 */

void Error_Handler(void)
{
  __disable_irq();
  while (1)
  {
  }
}

#ifdef  USE_FULL_ASSERT
/**
  * @brief  Reports the name of the source file and the source line number
  *         where the assert_param error has occurred.
  * @param  file: pointer to the source file name
  * @param  line: assert_param error line source number
  * @retval None
  */
void assert_failed(uint8_t *file, uint32_t line)
{
  /* USER CODE BEGIN 6 */
  printf("Wrong parameters value: file %s on line %d\r\n", file, line);
  /* User can add his own implementation to report the file name and line number,
     ex: printf("Wrong parameters value: file %s on line %d\r\n", file, line) */
  /* USER CODE END 6 */
}
#endif /* USE_FULL_ASSERT */

/************************ (C) COPYRIGHT STMicroelectronics *****END OF FILE****/
